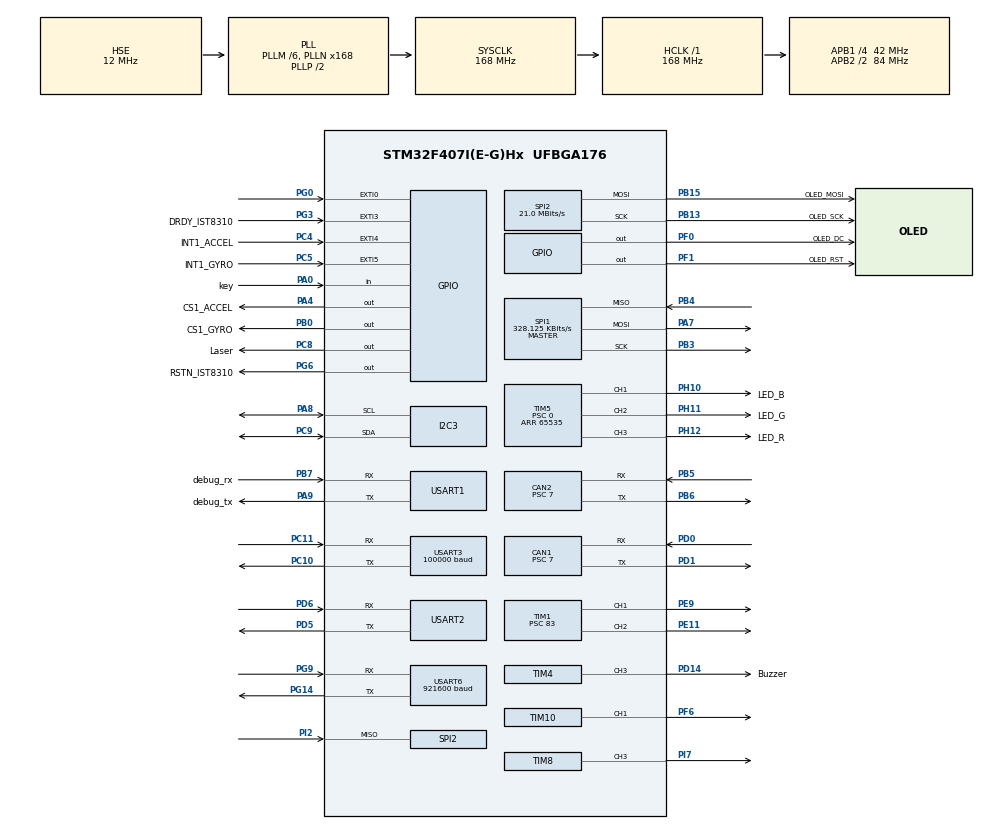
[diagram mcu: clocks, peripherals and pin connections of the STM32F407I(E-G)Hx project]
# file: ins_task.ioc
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CAN1.ABOM=ENABLE
CAN1.AWUM=ENABLE
CAN1.BS1=CAN_BS1_3TQ
CAN1.BS2=CAN_BS2_2TQ
CAN1.CalculateTimeQuantum=166.66666666666669
CAN1.NART=ENABLE
CAN1.Prescaler=7
CAN1.TXFP=ENABLE
CAN2.ABOM=ENABLE
CAN2.AWUM=ENABLE
CAN2.BS1=CAN_BS1_3TQ
CAN2.BS2=CAN_BS2_2TQ
CAN2.CalculateTimeQuantum=166.66666666666669
CAN2.NART=ENABLE
CAN2.Prescaler=7
CAN2.TXFP=ENABLE
Dma.Request0=SPI1_RX
Dma.Request1=SPI1_TX
Dma.Request2=USART3_RX
Dma.Request3=USART6_RX
Dma.Request4=TIM8_CH3
Dma.SPI1_RX.0.Direction=DMA_PERIPH_TO_MEMORY
Dma.SPI1_RX.0.FIFOMode=DMA_FIFOMODE_DISABLE
Dma.SPI1_RX.0.Instance=DMA2_Stream2
Dma.SPI1_RX.0.MemDataAlignment=DMA_MDATAALIGN_BYTE
Dma.SPI1_RX.0.MemInc=DMA_MINC_ENABLE
Dma.SPI1_RX.0.Mode=DMA_NORMAL
Dma.SPI1_RX.0.PeriphDataAlignment=DMA_PDATAALIGN_BYTE
Dma.SPI1_RX.0.PeriphInc=DMA_PINC_DISABLE
Dma.SPI1_RX.0.Priority=DMA_PRIORITY_VERY_HIGH
Dma.SPI1_TX.1.Direction=DMA_MEMORY_TO_PERIPH
Dma.SPI1_TX.1.FIFOMode=DMA_FIFOMODE_DISABLE
Dma.SPI1_TX.1.Instance=DMA2_Stream3
Dma.SPI1_TX.1.MemDataAlignment=DMA_MDATAALIGN_BYTE
Dma.SPI1_TX.1.MemInc=DMA_MINC_ENABLE
Dma.SPI1_TX.1.Mode=DMA_NORMAL
Dma.SPI1_TX.1.PeriphDataAlignment=DMA_PDATAALIGN_BYTE
Dma.SPI1_TX.1.PeriphInc=DMA_PINC_DISABLE
Dma.SPI1_TX.1.Priority=DMA_PRIORITY_HIGH
Dma.TIM8_CH3.4.Direction=DMA_MEMORY_TO_PERIPH
Dma.TIM8_CH3.4.FIFOMode=DMA_FIFOMODE_DISABLE
Dma.TIM8_CH3.4.Instance=DMA2_Stream4
Dma.TIM8_CH3.4.MemDataAlignment=DMA_MDATAALIGN_HALFWORD
Dma.TIM8_CH3.4.MemInc=DMA_MINC_ENABLE
Dma.TIM8_CH3.4.Mode=DMA_NORMAL
Dma.TIM8_CH3.4.PeriphDataAlignment=DMA_PDATAALIGN_HALFWORD
Dma.TIM8_CH3.4.PeriphInc=DMA_PINC_DISABLE
Dma.TIM8_CH3.4.Priority=DMA_PRIORITY_LOW
Dma.USART3_RX.2.Direction=DMA_PERIPH_TO_MEMORY
Dma.USART3_RX.2.FIFOMode=DMA_FIFOMODE_DISABLE
Dma.USART3_RX.2.Instance=DMA1_Stream1
Dma.USART3_RX.2.MemDataAlignment=DMA_MDATAALIGN_BYTE
Dma.USART3_RX.2.MemInc=DMA_MINC_ENABLE
Dma.USART3_RX.2.Mode=DMA_CIRCULAR
Dma.USART3_RX.2.PeriphDataAlignment=DMA_PDATAALIGN_BYTE
Dma.USART3_RX.2.PeriphInc=DMA_PINC_DISABLE
Dma.USART3_RX.2.Priority=DMA_PRIORITY_LOW
Dma.USART6_RX.3.Direction=DMA_PERIPH_TO_MEMORY
Dma.USART6_RX.3.FIFOMode=DMA_FIFOMODE_DISABLE
Dma.USART6_RX.3.Instance=DMA2_Stream1
Dma.USART6_RX.3.MemDataAlignment=DMA_MDATAALIGN_BYTE
Dma.USART6_RX.3.MemInc=DMA_MINC_ENABLE
Dma.USART6_RX.3.Mode=DMA_CIRCULAR
Dma.USART6_RX.3.PeriphDataAlignment=DMA_PDATAALIGN_BYTE
Dma.USART6_RX.3.PeriphInc=DMA_PINC_DISABLE
Dma.USART6_RX.3.Priority=DMA_PRIORITY_MEDIUM
FREERTOS.INCLUDE_eTaskGetState=1
FREERTOS.INCLUDE_pcTaskGetTaskName=1
FREERTOS.INCLUDE_uxTaskGetStackHighWaterMark=1
FREERTOS.INCLUDE_vTaskCleanUpResources=1
FREERTOS.INCLUDE_vTaskDelayUntil=1
FREERTOS.INCLUDE_xEventGroupSetBitFromISR=1
FREERTOS.INCLUDE_xQueueGetMutexHolder=1
FREERTOS.INCLUDE_xSemaphoreGetMutexHolder=1
FREERTOS.INCLUDE_xTaskAbortDelay=1
FREERTOS.INCLUDE_xTaskGetCurrentTaskHandle=1
FREERTOS.INCLUDE_xTaskGetHandle=1
FREERTOS.INCLUDE_xTimerPendFunctionCall=1
FREERTOS.Tasks01=test,0,128,test_task,As weak,NULL,Dynamic,NULL,NULL;Debug_Task,0,128,Debug,Default,NULL,Dynamic,NULL,NULL;IMU_Send_Task,2,128,IMU_Send,Default,NULL,Dynamic,NULL,NULL
FREERTOS.configTOTAL_HEAP_SIZE=24576
I2C3.I2C_Mode=I2C_Fast
Mcu.Family=STM32F4
Mcu.Name=STM32F407I(E-G)Hx
Mcu.Package=UFBGA176
NVIC.CAN1_RX0_IRQn=true\:5\:0\:true\:false\:true\:true\:true\:true
NVIC.CAN2_RX0_IRQn=true\:5\:0\:true\:false\:true\:true\:true\:true
NVIC.DMA1_Stream1_IRQn=true\:0\:0\:false\:false\:true\:true\:false\:true
NVIC.DMA2_Stream1_IRQn=true\:5\:0\:true\:false\:true\:false\:true\:true
NVIC.DMA2_Stream2_IRQn=true\:5\:0\:true\:false\:false\:true\:false\:true
NVIC.DMA2_Stream3_IRQn=true\:5\:0\:true\:false\:false\:true\:false\:true
NVIC.DMA2_Stream4_IRQn=true\:5\:0\:true\:false\:true\:true\:false\:true
NVIC.EXTI0_IRQn=true\:6\:0\:true\:false\:true\:true\:true\:true
NVIC.EXTI3_IRQn=true\:5\:0\:true\:false\:true\:true\:true\:true
NVIC.EXTI4_IRQn=true\:5\:0\:true\:false\:true\:true\:true\:true
NVIC.EXTI9_5_IRQn=true\:5\:0\:true\:false\:true\:true\:true\:true
NVIC.PriorityGroup=NVIC_PRIORITYGROUP_4
NVIC.TIM3_IRQn=true\:5\:0\:true\:false\:true\:true\:true\:true
NVIC.TIM6_DAC_IRQn=true\:0\:0\:false\:false\:true\:false\:true\:true
NVIC.TimeBase=TIM6_DAC_IRQn
NVIC.TimeBaseIP=TIM6
NVIC.USART3_IRQn=true\:5\:0\:true\:false\:true\:true\:true\:true
NVIC.USART6_IRQn=true\:5\:0\:true\:false\:true\:true\:true\:true
PA0-WKUP.GPIO_Label=key
PA0-WKUP.GPIO_PuPd=GPIO_PULLUP
PA0-WKUP.Signal=GPIO_Input
PA13.Mode=Serial_Wire
PA13.Signal=SYS_JTMS-SWDIO
PA14.Mode=Serial_Wire
PA14.Signal=SYS_JTCK-SWCLK
PA4.GPIO_Label=CS1_ACCEL
PA4.GPIO_PuPd=GPIO_PULLUP
PA4.GPIO_Speed=GPIO_SPEED_FREQ_HIGH
PA4.PinState=GPIO_PIN_SET
PA4.Signal=GPIO_Output
PA7.GPIO_PuPd=GPIO_PULLUP
PA7.Mode=Full_Duplex_Master
PA7.Signal=SPI1_MOSI
PA8.Mode=I2C
PA8.Signal=I2C3_SCL
PA9.GPIO_Label=debug_tx
PA9.Mode=Asynchronous
PA9.Signal=USART1_TX
PB0.GPIO_Label=CS1_GYRO
PB0.GPIO_PuPd=GPIO_PULLUP
PB0.GPIO_Speed=GPIO_SPEED_FREQ_HIGH
PB0.PinState=GPIO_PIN_SET
PB0.Signal=GPIO_Output
PB13.GPIO_Label=OLED_SCK
PB13.Mode=Full_Duplex_Master
PB13.Signal=SPI2_SCK
PB15.GPIO_Label=OLED_MOSI
PB15.Mode=Full_Duplex_Master
PB15.Signal=SPI2_MOSI
PB3.GPIO_PuPd=GPIO_PULLUP
PB3.Mode=Full_Duplex_Master
PB3.Signal=SPI1_SCK
PB4.GPIO_PuPd=GPIO_PULLUP
PB4.Mode=Full_Duplex_Master
PB4.Signal=SPI1_MISO
PB5.Mode=Slave
PB5.Signal=CAN2_RX
PB6.Mode=Slave
PB6.Signal=CAN2_TX
PB7.GPIO_Label=debug_rx
PB7.Mode=Asynchronous
PB7.Signal=USART1_RX
PC10.Mode=Asynchronous
PC10.Signal=USART3_TX
PC11.Mode=Asynchronous
PC11.Signal=USART3_RX
PC4.GPIO_Label=INT1_ACCEL
PC4.GPIO_ModeDefaultEXTI=GPIO_MODE_IT_FALLING
PC4.GPIO_PuPd=GPIO_PULLUP
PC4.Signal=GPXTI4
PC5.GPIO_Label=INT1_GYRO
PC5.GPIO_ModeDefaultEXTI=GPIO_MODE_IT_FALLING
PC5.GPIO_PuPd=GPIO_PULLUP
PC5.Signal=GPXTI5
PC8.GPIO_Label=Laser
PC8.Signal=GPIO_Output
PC9.Mode=I2C
PC9.Signal=I2C3_SDA
PD0.Mode=Master
PD0.Signal=CAN1_RX
PD1.Mode=Master
PD1.Signal=CAN1_TX
PD14.GPIO_Label=Buzzer
PD14.Signal=S_TIM4_CH3
PD5.Mode=Asynchronous
PD5.Signal=USART2_TX
PD6.Mode=Asynchronous
PD6.Signal=USART2_RX
PE11.Signal=S_TIM1_CH2
PE9.Signal=S_TIM1_CH1
PF0.GPIO_Label=OLED_DC
PF0.Signal=GPIO_Output
PF1.GPIO_Label=OLED_RST
PF1.Signal=GPIO_Output
PF6.GPIO_PuPd=GPIO_PULLUP
PF6.GPIO_Speed=GPIO_SPEED_FREQ_HIGH
PF6.Signal=S_TIM10_CH1
PG0.GPIO_ModeDefaultEXTI=GPIO_MODE_IT_FALLING
PG0.GPIO_PuPd=GPIO_PULLUP
PG0.Signal=GPXTI0
PG14.Mode=Asynchronous
PG14.Signal=USART6_TX
PG3.GPIO_Label=DRDY_IST8310
PG3.GPIO_ModeDefaultEXTI=GPIO_MODE_IT_FALLING
PG3.GPIO_PuPd=GPIO_PULLUP
PG3.Signal=GPXTI3
PG6.GPIO_Label=RSTN_IST8310
PG6.GPIO_PuPd=GPIO_PULLUP
PG6.GPIO_Speed=GPIO_SPEED_FREQ_MEDIUM
PG6.PinState=GPIO_PIN_SET
PG6.Signal=GPIO_Output
PG9.Mode=Asynchronous
PG9.Signal=USART6_RX
PH0-OSC_IN.Mode=HSE-External-Oscillator
PH0-OSC_IN.Signal=RCC_OSC_IN
PH1-OSC_OUT.Mode=HSE-External-Oscillator
PH1-OSC_OUT.Signal=RCC_OSC_OUT
PH10.GPIO_Label=LED_B
PH10.GPIO_PuPd=GPIO_PULLUP
PH10.GPIO_Speed=GPIO_SPEED_FREQ_HIGH
PH10.Signal=S_TIM5_CH1
PH11.GPIO_Label=LED_G
PH11.GPIO_PuPd=GPIO_PULLUP
PH11.GPIO_Speed=GPIO_SPEED_FREQ_HIGH
PH11.Signal=S_TIM5_CH2
PH12.GPIO_Label=LED_R
PH12.GPIO_PuPd=GPIO_PULLUP
PH12.GPIO_Speed=GPIO_SPEED_FREQ_HIGH
PH12.Signal=S_TIM5_CH3
PI2.Mode=Full_Duplex_Master
PI2.Signal=SPI2_MISO
PI7.Signal=S_TIM8_CH3
ProjectManager.HeapSize=0x2000
ProjectManager.StackSize=0x2000
ProjectManager.TargetToolchain=MDK-ARM V5
RCC.48MHZClocksFreq_Value=48000000
RCC.AHBFreq_Value=168000000
RCC.APB1CLKDivider=RCC_HCLK_DIV4
RCC.APB1Freq_Value=42000000
RCC.APB1TimFreq_Value=84000000
RCC.APB2CLKDivider=RCC_HCLK_DIV2
RCC.APB2Freq_Value=84000000
RCC.APB2TimFreq_Value=168000000
RCC.CortexFreq_Value=168000000
RCC.HCLKFreq_Value=168000000
RCC.HSE_VALUE=12000000
RCC.HSI_VALUE=16000000
RCC.LSE_VALUE=32768
RCC.PLLM=6
RCC.PLLN=168
RCC.PLLQ=7
RCC.PLLSourceVirtual=RCC_PLLSOURCE_HSE
RCC.RCC_RTC_Clock_SourceVirtual=RCC_RTCCLKSOURCE_HSE_DIV30
RCC.RCC_RTC_Clock_Source_FROM_HSE=RCC_RTCCLKSOURCE_HSE_DIV30
RCC.SYSCLKFreq_VALUE=168000000
RCC.SYSCLKSource=RCC_SYSCLKSOURCE_PLLCLK
RCC.VCOOutputFreq_Value=336000000
SH.S_TIM10_CH1.0=TIM10_CH1,PWM Generation1 CH1
SH.S_TIM1_CH1.0=TIM1_CH1,PWM Generation1 CH1
SH.S_TIM1_CH2.0=TIM1_CH2,PWM Generation2 CH2
SH.S_TIM4_CH3.0=TIM4_CH3,PWM Generation3 CH3
SH.S_TIM5_CH1.0=TIM5_CH1,PWM Generation1 CH1
SH.S_TIM5_CH2.0=TIM5_CH2,PWM Generation2 CH2
SH.S_TIM5_CH3.0=TIM5_CH3,PWM Generation3 CH3
SH.S_TIM8_CH3.0=TIM8_CH3,PWM Generation3 CH3
SPI1.BaudRatePrescaler=SPI_BAUDRATEPRESCALER_256
SPI1.CLKPhase=SPI_PHASE_2EDGE
SPI1.CLKPolarity=SPI_POLARITY_HIGH
SPI1.CalculateBaudRate=328.125 KBits/s
SPI1.Direction=SPI_DIRECTION_2LINES
SPI1.Mode=SPI_MODE_MASTER
SPI1.VirtualType=VM_MASTER
SPI2.CalculateBaudRate=21.0 MBits/s
SPI2.Direction=SPI_DIRECTION_2LINES
SPI2.Mode=SPI_MODE_MASTER
SPI2.VirtualType=VM_MASTER
TIM1.Channel-PWM\ Generation1\ CH1=TIM_CHANNEL_1
TIM1.Channel-PWM\ Generation2\ CH2=TIM_CHANNEL_2
TIM1.Period=19999
TIM1.Prescaler=83
TIM10.Channel=TIM_CHANNEL_1
TIM10.Period=4999
TIM3.Period=9999
TIM3.Prescaler=8399
TIM4.Channel-PWM\ Generation3\ CH3=TIM_CHANNEL_3
TIM4.Period=370
TIM4.Prescaler=130
TIM4.Pulse-PWM\ Generation3\ CH3=0
TIM5.Channel-PWM\ Generation1\ CH1=TIM_CHANNEL_1
TIM5.Channel-PWM\ Generation2\ CH2=TIM_CHANNEL_2
TIM5.Channel-PWM\ Generation3\ CH3=TIM_CHANNEL_3
TIM5.Period=65535
TIM5.Prescaler=0
TIM8.Channel-PWM\ Generation3\ CH3=TIM_CHANNEL_3
TIM8.Period=224
TIM8.Prescaler=0
USART1.VirtualMode=VM_ASYNC
USART2.VirtualMode=VM_ASYNC
USART3.BaudRate=100000
USART3.Parity=PARITY_EVEN
USART3.VirtualMode=VM_ASYNC
USART3.WordLength=WORDLENGTH_9B
USART6.BaudRate=921600
USART6.VirtualMode=VM_ASYNC
VP_FREERTOS_VS_CMSIS_V1.Mode=CMSIS_V1
VP_SYS_VS_tim6.Mode=TIM6
VP_TIM10_VS_ClockSourceINT.Mode=Enable_Timer
VP_TIM1_VS_ClockSourceINT.Mode=Internal
VP_TIM3_VS_ClockSourceINT.Mode=Internal
VP_TIM4_VS_ClockSourceINT.Mode=Internal
VP_TIM5_VS_ClockSourceINT.Mode=Internal
VP_TIM8_VS_ClockSourceINT.Mode=Internal
board=custom

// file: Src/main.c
/* USER CODE BEGIN Header */
/**
  ******************************************************************************
  * @file           : main.c
  * @brief          : Main program body
  ******************************************************************************
  * @attention
  *
  * <h2><center>&copy; Copyright (c) 2019 STMicroelectronics.
  * All rights reserved.</center></h2>
  *
  * This software component is licensed by ST under Ultimate Liberty license
  * SLA0044, the "License"; You may not use this file except in compliance with
  * the License. You may obtain a copy of the License at:
  *                             www.st.com/SLA0044
  *
  ******************************************************************************
  */
/* USER CODE END Header */
#include "main.h"
#include "cmsis_os.h"
#include "can.h"
#include "dma.h"
#include "i2c.h"
#include "spi.h"
#include "tim.h"
#include "usart.h"
#include "gpio.h"

/* USER CODE BEGIN Includes */
#include "bsp_delay.h"

#include "calibrate_task.h"
#include "INS_task.h"
#include "led_flow_task.h"
#include "user_can.h"
#include "bsp_buzzer.h"

#include "can_control.h"
#include "bsp_usart.h"
#include "Control_Vision.h"
#include "Control_Vision.h"
#include "Control_Vision.h"
#include "shoot.h"
#include "WS2812.h"
/* USER CODE END Includes */

void SystemClock_Config(void);
void MX_FREERTOS_Init(void);

int main(void)
{

  /* MCU Configuration--------------------------------------------------------*/

  /* Reset of all peripherals, Initializes the Flash interface and the Systick. */
  HAL_Init();

  /* Configure the system clock */
  SystemClock_Config();

  /* Initialize all configured peripherals */
  MX_GPIO_Init();
  MX_DMA_Init();
  MX_SPI1_Init();
  MX_TIM5_Init();
  MX_I2C3_Init();
  MX_TIM10_Init();
  MX_USART1_UART_Init();
  MX_CAN2_Init();
  MX_TIM4_Init();
  MX_USART3_UART_Init();
  MX_CAN1_Init();
  MX_USART2_UART_Init();
  MX_USART6_UART_Init();
  MX_TIM3_Init();
  MX_TIM1_Init();
  MX_SPI2_Init();
  MX_TIM8_Init();
  /* USER CODE BEGIN 2 */
	  delay_init();

	//	CAN2_Config();

		Buzzer_Init();
    cali_param_init();

		taskENTER_CRITICAL(); //进入临界区

	  Vision_Init();
		Vision_USART_Receive_DMA(&huart6);//使能串口6

	  CAN_IT_Init(&hcan1, 1);//过滤器初始化
    CAN_IT_Init(&hcan2, 2);//过滤器初始化
	  HAL_UART_Receive_IT_IDLE(&huart3,UART_Buffer,100);   //启动串口接收

    HAL_TIM_PWM_Start(&htim1, TIM_CHANNEL_1);//左
		HAL_TIM_PWM_Start(&htim1, TIM_CHANNEL_2);//右
    Mag_Ctrl(OFF);
  /* USER CODE END 2 */

  /* Call init function for freertos objects (in freertos.c) */
  MX_FREERTOS_Init();
  /* Start scheduler */
  osKernelStart();

  /* We should never get here as control is now taken by the scheduler */
  /* Infinite loop */
  while (1)
  {

  }
}

void SystemClock_Config(void)
{
  RCC_OscInitTypeDef RCC_OscInitStruct = {0};
  RCC_ClkInitTypeDef RCC_ClkInitStruct = {0};

  /** Configure the main internal regulator output voltage
  */
  __HAL_RCC_PWR_CLK_ENABLE();
  __HAL_PWR_VOLTAGESCALING_CONFIG(PWR_REGULATOR_VOLTAGE_SCALE1);
  /** Initializes the RCC Oscillators according to the specified parameters
  * in the RCC_OscInitTypeDef structure.
  */
  RCC_OscInitStruct.OscillatorType = RCC_OSCILLATORTYPE_HSE;
  RCC_OscInitStruct.HSEState = RCC_HSE_ON;
  RCC_OscInitStruct.PLL.PLLState = RCC_PLL_ON;
  RCC_OscInitStruct.PLL.PLLSource = RCC_PLLSOURCE_HSE;
  RCC_OscInitStruct.PLL.PLLM = 6;
  RCC_OscInitStruct.PLL.PLLN = 168;
  RCC_OscInitStruct.PLL.PLLP = RCC_PLLP_DIV2;
  RCC_OscInitStruct.PLL.PLLQ = 7;
  if (HAL_RCC_OscConfig(&RCC_OscInitStruct) != HAL_OK)
  {
    Error_Handler();
  }
  /** Initializes the CPU, AHB and APB buses clocks
  */
  RCC_ClkInitStruct.ClockType = RCC_CLOCKTYPE_HCLK|RCC_CLOCKTYPE_SYSCLK
                              |RCC_CLOCKTYPE_PCLK1|RCC_CLOCKTYPE_PCLK2;
  RCC_ClkInitStruct.SYSCLKSource = RCC_SYSCLKSOURCE_PLLCLK;
  RCC_ClkInitStruct.AHBCLKDivider = RCC_SYSCLK_DIV1;
  RCC_ClkInitStruct.APB1CLKDivider = RCC_HCLK_DIV4;
  RCC_ClkInitStruct.APB2CLKDivider = RCC_HCLK_DIV2;

  if (HAL_RCC_ClockConfig(&RCC_ClkInitStruct, FLASH_LATENCY_5) != HAL_OK)
  {
    Error_Handler();
  }
}

void HAL_TIM_PeriodElapsedCallback(TIM_HandleTypeDef *htim)
{
  if (htim->Instance == TIM6) {
    HAL_IncTick();
  }
}

void Error_Handler(void)
{
}

/************************ (C) COPYRIGHT STMicroelectronics *****END OF FILE****/

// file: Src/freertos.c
/* USER CODE BEGIN Header */
/**
  ******************************************************************************
  * File Name          : freertos.c
  * Description        : Code for freertos applications
  ******************************************************************************
  * @attention
  *
  * <h2><center>&copy; Copyright (c) 2019 STMicroelectronics.
  * All rights reserved.</center></h2>
  *
  * This software component is licensed by ST under Ultimate Liberty license
  * SLA0044, the "License"; You may not use this file except in compliance with
  * the License. You may obtain a copy of the License at:
  *                             www.st.com/SLA0044
  *
  ******************************************************************************
  */
/* USER CODE END Header */

#include "FreeRTOS.h"
#include "task.h"
#include "main.h"
#include "cmsis_os.h"

/* USER CODE BEGIN Includes */

#include "calibrate_task.h"

#include "INS_task.h"
#include "led_flow_task.h"
#include "Debug_DataScope.h"
#include "DJI_IMU.h"
#include "bsp_buzzer.h"
#include "DJI_IMU.h"
#include "Task_RobotContr.h"
#include "Task_CanMsg.h"

#include "Robot_control.h"
#include "Control_Vision.h"
#include "Devices_Monitor.h"

#include "ANO_DT.h"
#include "Shoot.h"
#include "Robot_control.h"
#include "DR16_control.h"

#include "M6020_Motor.h"
#include "can_control.h"
/* USER CODE END Includes */

/* USER CODE BEGIN PTD */

osThreadId calibrate_tast_handle;
osThreadId imuTaskHandle;
osThreadId led_RGB_flow_handle;
osThreadId Task_Can1MsgRecHandle;
osThreadId Task_DevicesMonitorHandle;
osThreadId Task_DR16Handle;

osMessageQId CAN_SendHandle;

unsigned char x;          //计数变量
unsigned char Send_Count; //串口需要发送的数据个数
/* USER CODE END PTD */

/* USER CODE BEGIN PD */
void ALL_Send(void const * argument)
{
  /* USER CODE BEGIN ALL_Send */
  /* Infinite loop */
  for(;;)
  {
		//视觉数据发送
		Update_VisionTarget();
    osDelay(1);
  }
  /* USER CODE END ALL_Send */
}
/* USER CODE END PD */

/* USER CODE BEGIN Variables */
//CAN队列句柄osThreadId Task_DevicesMonitorHandle;
osMessageQId CAN2_Queue;
osThreadId Task_ConditionHandle;
osThreadId Task_RobotContrHandle;
/* USER CODE END Variables */
osThreadId testHandle;
osThreadId Debug_TaskHandle;
osThreadId IMU_Send_TaskHandle;

/* USER CODE BEGIN FunctionPrototypes */
 void Task_DevicesMonitor(void const * argument);
 void Task_DR16_Recv(void const * argument);
/* USER CODE END FunctionPrototypes */

void test_task(void const * argument);
void Debug(void const * argument);
void IMU_Send(void const * argument);

void MX_FREERTOS_Init(void); /* (MISRA C 2004 rule 8.1) */

/* GetIdleTaskMemory prototype (linked to static allocation support) */
void vApplicationGetIdleTaskMemory( StaticTask_t **ppxIdleTaskTCBBuffer, StackType_t **ppxIdleTaskStackBuffer, uint32_t *pulIdleTaskStackSize );

/* GetTimerTaskMemory prototype (linked to static allocation support) */
void vApplicationGetTimerTaskMemory( StaticTask_t **ppxTimerTaskTCBBuffer, StackType_t **ppxTimerTaskStackBuffer, uint32_t *pulTimerTaskStackSize );

/* USER CODE BEGIN GET_IDLE_TASK_MEMORY */
static StaticTask_t xIdleTaskTCBBuffer;
static StackType_t xIdleStack[configMINIMAL_STACK_SIZE];

void vApplicationGetIdleTaskMemory( StaticTask_t **ppxIdleTaskTCBBuffer, StackType_t **ppxIdleTaskStackBuffer, uint32_t *pulIdleTaskStackSize )
{
  *ppxIdleTaskTCBBuffer = &xIdleTaskTCBBuffer;
  *ppxIdleTaskStackBuffer = &xIdleStack[0];
  *pulIdleTaskStackSize = configMINIMAL_STACK_SIZE;
  /* place for user code */
}
/* USER CODE END GET_IDLE_TASK_MEMORY */

/* USER CODE BEGIN GET_TIMER_TASK_MEMORY */
static StaticTask_t xTimerTaskTCBBuffer;
static StackType_t xTimerStack[configTIMER_TASK_STACK_DEPTH];

void vApplicationGetTimerTaskMemory( StaticTask_t **ppxTimerTaskTCBBuffer, StackType_t **ppxTimerTaskStackBuffer, uint32_t *pulTimerTaskStackSize )
{
  *ppxTimerTaskTCBBuffer = &xTimerTaskTCBBuffer;
  *ppxTimerTaskStackBuffer = &xTimerStack[0];
  *pulTimerTaskStackSize = configTIMER_TASK_STACK_DEPTH;
  /* place for user code */
}
/* USER CODE END GET_TIMER_TASK_MEMORY */

void MX_FREERTOS_Init(void) {

  /* Create the thread(s) */
  /* definition and creation of test */
  osThreadDef(test, test_task, osPriorityNormal, 0, 128);
  testHandle = osThreadCreate(osThread(test), NULL);

  /* definition and creation of Debug_Task */
  osThreadDef(Debug_Task, Debug, osPriorityNormal, 0, 128);
  Debug_TaskHandle = osThreadCreate(osThread(Debug_Task), NULL);

  /* definition and creation of IMU_Send_Task */
  osThreadDef(IMU_Send_Task, IMU_Send, osPriorityHigh, 0, 128);
  IMU_Send_TaskHandle = osThreadCreate(osThread(IMU_Send_Task), NULL);

  /* USER CODE BEGIN RTOS_THREADS */
  /* add threads, ... */
    osThreadDef(cali, calibrate_task, osPriorityAboveNormal, 0, 512);
    calibrate_tast_handle = osThreadCreate(osThread(cali), NULL);

    osThreadDef(imuTask, INS_task, osPriorityRealtime, 0, 1024);
    imuTaskHandle = osThreadCreate(osThread(imuTask), NULL);

    osThreadDef(led, led_RGB_flow_task, osPriorityNormal, 0, 256);
    led_RGB_flow_handle = osThreadCreate(osThread(led), NULL);

    osThreadDef(Task_Condition, ALL_Send, osPriorityBelowNormal, 0, 128);
    Task_ConditionHandle = osThreadCreate(osThread(Task_Condition), NULL);

    osThreadDef(Task_RobotContr, RobotControl, osPriorityHigh, 0, 512);
    Task_RobotContrHandle = osThreadCreate(osThread(Task_RobotContr), NULL);

	osThreadDef(DevicesMonitor, Task_DevicesMonitor, osPriorityNormal, 0, 128);
  Task_DevicesMonitorHandle = osThreadCreate(osThread(DevicesMonitor), NULL);

	osThreadDef(Task_DR16, Task_DR16_Recv, osPriorityNormal, 0, 128);
  Task_DR16Handle = osThreadCreate(osThread(Task_DR16), NULL);

  /* USER CODE END RTOS_THREADS */

}

__weak void test_task(void const * argument)
{
  for(;;)
  {
    osDelay(1);
  }
}

void Debug(void const * argument)
{
  /* USER CODE BEGIN Debug */
  /* Infinite loop */
	for(;;)
  {
//			DataScope_Get_Channel_Data(M6020_motor.remote_control_YAW,1);
//			DataScope_Get_Channel_Data(M6020_motor.YAW_OUT_Current,2);
//			DataScope_Get_Channel_Data(M6020_motor.YAW_P_result,3);
//			DataScope_Get_Channel_Data(M6020_motor.YAW_IN_Current,4);
//		DataScope_Get_Channel_Data(Shoot_Freq,1);

////			DataScope_Get_Channel_Data(vision_yaw_angle,3);
////			DataScope_Get_Channel_Data(vision_pit_angle,4);
//			DataScope_Get_Channel_Data(angle_diff,1);
////	 		DataScope_Get_Channel_Data(M6020_motor.YAW_OUT_Current,2);
////
//		  DataScope_Get_Channel_Data(YAWVision.IMUVisionErr,1);
//			DataScope_Get_Channel_Data(M6020_motor.YAW_OUT_Current,2);
//  		DataScope_Get_Channel_Data(YAWVision.Vision_OUT,3);
//			DataScope_Get_Channel_Data(M6020_motor.YAW_IN_Current,4);
//		DataScope_Get_Channel_Data(VisionData.RawData.yaw_angle,5);

//				  DataScope_Get_Channel_Data(Shoot.BulletSpeed,1);
//					DataScope_Get_Channel_Data(PITCH_Use.PICTH_OUT_Current,1);
// 		  DataScope_Get_Channel_Data(PITCH_Use.RC_PICTH,2);
//			DataScope_Get_Channel_Data(M6020moto_chassis[3].angle ,1);
// 		  DataScope_Get_Channel_Data(PITCH_Use.PICTH_OUT_Current,2);
//
//			DataScope_Get_Channel_Data(YAWVision.IMUVisionErr,3);
// 		  DataScope_Get_Channel_Data(M6020_motor.YAW_OUT_Current,4);
//			DataScope_Get_Channel_Data(PITVision.Vision_OUT,3);
//			DataScope_Get_Channel_Data(PITCH_Use.PICTH_IN_Current,4);

			DataScope_Get_Channel_Data(Frict_motor.RC_FrictL*0.1,1);
	 		DataScope_Get_Channel_Data(Frict_motor.Frict_CurL*0.1,2);
			DataScope_Get_Channel_Data(Frict_motor.RC_FrictR*0.1,3);
			DataScope_Get_Channel_Data(-Frict_motor.Frict_CurR*0.1,4);
//			DataScope_Get_Channel_Data(M6020_motor.remote_control_YAW,1);
//	 		DataScope_Get_Channel_Data(yyyaw,2);

////		  DataScope_Get_Channel_Data(Expt.Target_Vw,3);
			Send_Count = DataScope_Data_Generate(4);

		for( x = 0 ; x < Send_Count; x++)
		{
		  while((USART1->SR&0X40)==0);
		  USART1->DR = DataScope_OutPut_Buffer[x];
		}
////		sent_data(500,200,'a');
//      Sent_DataFloat(USART1,500,500);
//    for (int i = 0; i < 1; i++)
//    {
//        HAL_UART_Transmit(&huart1, &data[i], 1, 0xffff);
//    }

    osDelay(48);
  }
  /* USER CODE END Debug */
}

void IMU_Send(void const * argument)
{
  /* USER CODE BEGIN IMU_Send */
	portTickType xLastWakeTime;
	xLastWakeTime = xTaskGetTickCount();
	const TickType_t TimeIncrement = pdMS_TO_TICKS(1);  //每1毫秒强制进入总控制
  /* Infinite loop */
  for(;;)
  {
//		#if send_way == 0
//		//欧拉角
//		if(cali_sensor[0].cali_done == CALIED_FLAG && cali_sensor[0].cali_cmd == 0)
//		{
//			Euler_Send.yaw = INS_angle[0];
//			Euler_Send.pitch = INS_angle[2];///从1改为2
//			Euler_Send_Fun(Euler_Send);
//			//角速度
//			Gyro_Send.Gyro_z = INS_gyro[2];
//			Gyro_Send.Gyro_y = INS_gyro[0]; //从1改为0
//			Gyro_Send_Fun(Gyro_Send);
//
//			#endif
//
//		}
		Updata_Hand_Euler_Gyro_Data();//更新陀螺仪角度

    vTaskDelayUntil(&xLastWakeTime, TimeIncrement);
  }
  /* USER CODE END IMU_Send */
}

/* USER CODE BEGIN Application */
void Updata_Hand_Euler_Gyro_Data(void)
{
	//角度
	DJIC_IMU.yaw = (float)INS_angle[0]  * Angle_turn_Radian + 180.f;		//将弧度转为度
	DJIC_IMU.pitch = (float)INS_angle[2] * Angle_turn_Radian + 180.0f; //(-180° ~ 180°)
	//角速度
	DJIC_IMU.Gyro_z = INS_gyro[2] * Angle_turn_Radian  ;
	DJIC_IMU.Gyro_y = INS_gyro[0] * Angle_turn_Radian ;

	//yaw轴的过零处理
	if (DJIC_IMU.yaw - DJIC_IMU.last_yaw < -300.0f)
	{
		DJIC_IMU.yaw_turnCounts++;
	}
	if (DJIC_IMU.last_yaw - DJIC_IMU.yaw < -300.0f)
	{
		DJIC_IMU.yaw_turnCounts--;
	}
	DJIC_IMU.total_yaw = DJIC_IMU.yaw + DJIC_IMU.yaw_turnCounts * 360.0f;
	DJIC_IMU.last_yaw = DJIC_IMU.yaw;

	//Pitch
	if (DJIC_IMU.pitch - DJIC_IMU.last_pitch < -300.0f)
	{
		DJIC_IMU.pitch_turnCounts++;
	}
	if (DJIC_IMU.last_pitch - DJIC_IMU.pitch < -300.0f)
	{
		DJIC_IMU.pitch_turnCounts--;
	}
	DJIC_IMU.total_pitch = DJIC_IMU.pitch + DJIC_IMU.pitch_turnCounts * 360.0f;
	DJIC_IMU.last_pitch = DJIC_IMU.pitch;
}

/* USER CODE END Application */

/************************ (C) COPYRIGHT STMicroelectronics *****END OF FILE****/
